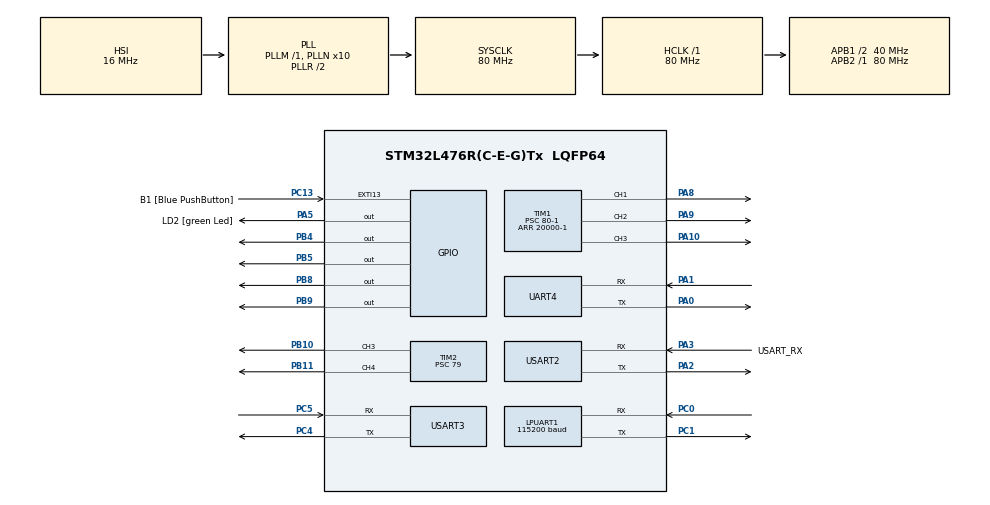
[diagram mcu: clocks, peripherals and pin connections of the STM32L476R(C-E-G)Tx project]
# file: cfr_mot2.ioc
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LPUART1.BaudRate=115200
LPUART1.WordLength=UART_WORDLENGTH_8B
Mcu.Family=STM32L4
Mcu.Name=STM32L476R(C-E-G)Tx
Mcu.Package=LQFP64
NVIC.LPUART1_IRQn=true\:0\:0\:false\:false\:true\:true\:true\:true
NVIC.PriorityGroup=NVIC_PRIORITYGROUP_4
NVIC.UART4_IRQn=true\:0\:0\:false\:false\:true\:true\:true\:true
PA0.Mode=Asynchronous
PA0.Signal=UART4_TX
PA1.Mode=Asynchronous
PA1.Signal=UART4_RX
PA10.Signal=S_TIM1_CH3
PA13\ (JTMS-SWDIO).GPIO_Label=TMS
PA13\ (JTMS-SWDIO).Mode=Serial_Wire
PA13\ (JTMS-SWDIO).Signal=SYS_JTMS-SWDIO
PA14\ (JTCK-SWCLK).GPIO_Label=TCK
PA14\ (JTCK-SWCLK).Mode=Serial_Wire
PA14\ (JTCK-SWCLK).Signal=SYS_JTCK-SWCLK
PA2.Mode=Asynchronous
PA2.Signal=USART2_TX
PA3.GPIO_Label=USART_RX
PA3.GPIO_Mode=GPIO_MODE_AF_PP
PA3.GPIO_PuPd=GPIO_NOPULL
PA3.GPIO_Speed=GPIO_SPEED_FREQ_VERY_HIGH
PA3.Mode=Asynchronous
PA3.Signal=USART2_RX
PA5.GPIO_Label=LD2 [green Led]
PA5.GPIO_ModeDefaultOutputPP=GPIO_MODE_OUTPUT_PP
PA5.GPIO_PuPd=GPIO_NOPULL
PA5.GPIO_Speed=GPIO_SPEED_FREQ_LOW
PA5.Signal=GPIO_Output
PA8.Signal=S_TIM1_CH1
PA9.Signal=S_TIM1_CH2
PB10.Signal=S_TIM2_CH3
PB11.Signal=S_TIM2_CH4
PB4\ (NJTRST).Signal=GPIO_Output
PB5.Signal=GPIO_Output
PB8.Signal=GPIO_Output
PB9.Signal=GPIO_Output
PC0.Mode=Asynchronous
PC0.Signal=LPUART1_RX
PC1.Mode=Asynchronous
PC1.Signal=LPUART1_TX
PC13.GPIO_Label=B1 [Blue PushButton]
PC13.GPIO_ModeDefaultEXTI=GPIO_MODE_IT_FALLING
PC13.GPIO_PuPd=GPIO_NOPULL
PC13.Signal=GPXTI13
PC14-OSC32_IN\ (PC14).Mode=LSE-External-Oscillator
PC14-OSC32_IN\ (PC14).Signal=RCC_OSC32_IN
PC15-OSC32_OUT\ (PC15).Mode=LSE-External-Oscillator
PC15-OSC32_OUT\ (PC15).Signal=RCC_OSC32_OUT
PC4.Mode=Asynchronous
PC4.Signal=USART3_TX
PC5.Mode=Asynchronous
PC5.Signal=USART3_RX
PH0-OSC_IN\ (PH0).Mode=HSE-External-Oscillator
PH0-OSC_IN\ (PH0).Signal=RCC_OSC_IN
PH1-OSC_OUT\ (PH1).Mode=HSE-External-Oscillator
PH1-OSC_OUT\ (PH1).Signal=RCC_OSC_OUT
ProjectManager.HeapSize=0x200
ProjectManager.StackSize=0x400
ProjectManager.TargetToolchain=STM32CubeIDE
RCC.ADCFreq_Value=64000000
RCC.AHBFreq_Value=80000000
RCC.APB1CLKDivider=RCC_HCLK_DIV2
RCC.APB1Freq_Value=40000000
RCC.APB1TimFreq_Value=80000000
RCC.APB2Freq_Value=80000000
RCC.APB2TimFreq_Value=80000000
RCC.CortexFreq_Value=80000000
RCC.HCLKFreq_Value=80000000
RCC.HSE_VALUE=8000000
RCC.HSI_VALUE=16000000
RCC.MSI_VALUE=4000000
RCC.PLLN=10
RCC.PLLSourceVirtual=RCC_PLLSOURCE_HSI
RCC.PREFETCH_ENABLE=1
RCC.SYSCLKFreq_VALUE=80000000
RCC.SYSCLKSource=RCC_SYSCLKSOURCE_PLLCLK
RCC.USBFreq_Value=64000000
RCC.VCOOutputFreq_Value=160000000
SH.S_TIM1_CH1.0=TIM1_CH1,PWM Generation1 CH1
SH.S_TIM1_CH2.0=TIM1_CH2,PWM Generation2 CH2
SH.S_TIM1_CH3.0=TIM1_CH3,PWM Generation3 CH3
SH.S_TIM2_CH3.0=TIM2_CH3,PWM Generation3 CH3
SH.S_TIM2_CH4.0=TIM2_CH4,PWM Generation4 CH4
TIM1.Channel-PWM\ Generation1\ CH1=TIM_CHANNEL_1
TIM1.Channel-PWM\ Generation2\ CH2=TIM_CHANNEL_2
TIM1.Channel-PWM\ Generation3\ CH3=TIM_CHANNEL_3
TIM1.Period=20000-1
TIM1.Prescaler=80-1
TIM2.Channel-PWM\ Generation3\ CH3=TIM_CHANNEL_3
TIM2.Channel-PWM\ Generation4\ CH4=TIM_CHANNEL_4
TIM2.Period=1999
TIM2.Prescaler=79
USART2.VirtualMode-Asynchronous=VM_ASYNC
USART3.VirtualMode-Asynchronous=VM_ASYNC
VP_TIM1_VS_ClockSourceINT.Mode=Internal
VP_TIM2_VS_ClockSourceINT.Mode=Internal
board=NUCLEO-L476RG

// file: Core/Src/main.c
/* USER CODE BEGIN Header */
/**
  ******************************************************************************
  * @file           : main.c
  * @brief          : Main program body
  ******************************************************************************
  * @attention
  *
  * Copyright (c) 2024 STMicroelectronics.
  * All rights reserved.
  *
  * This software is licensed under terms that can be found in the LICENSE file
  * in the root directory of this software component.
  * If no LICENSE file comes with this software, it is provided AS-IS.
  *
  ******************************************************************************
  */
/* USER CODE END Header */
#include "main.h"

/* USER CODE BEGIN Includes */
#include <string.h>
#include <stdio.h>
#include "servo.h"
#include "maxon.h"
/* USER CODE END Includes */

UART_HandleTypeDef hlpuart1;
UART_HandleTypeDef huart4;
UART_HandleTypeDef huart2;
UART_HandleTypeDef huart3;

TIM_HandleTypeDef htim1;
TIM_HandleTypeDef htim2;

/* USER CODE BEGIN PV */
char rx_data[26];//13 de base
char newline[] = "\r\n";
int i = 0;

/* USER CODE END PV */

void SystemClock_Config(void);
static void MX_GPIO_Init(void);
static void MX_TIM2_Init(void);
static void MX_LPUART1_UART_Init(void);
static void MX_TIM1_Init(void);
static void MX_USART2_UART_Init(void);
static void MX_USART3_UART_Init(void);
static void MX_UART4_Init(void);

int main(void)
{

  /* MCU Configuration--------------------------------------------------------*/

  /* Reset of all peripherals, Initializes the Flash interface and the Systick. */
  HAL_Init();

  /* Configure the system clock */
  SystemClock_Config();

  /* Initialize all configured peripherals */
  MX_GPIO_Init();
  MX_TIM2_Init();
  MX_LPUART1_UART_Init();
  MX_TIM1_Init();
  MX_USART2_UART_Init();
  MX_USART3_UART_Init();
  MX_UART4_Init();
  /* USER CODE BEGIN 2 */
  HAL_TIM_PWM_Start(&htim2, TIM_CHANNEL_3); //PB10 TIM2 CH3
  HAL_TIM_PWM_Start(&htim2, TIM_CHANNEL_4); //PB11 TIM2 CH4
  HAL_TIM_PWM_Start(&htim1, TIM_CHANNEL_1); //PA8
  HAL_TIM_PWM_Start(&htim1, TIM_CHANNEL_2); //PA9
  HAL_TIM_PWM_Start(&htim1, TIM_CHANNEL_3); //PA10
  HAL_UART_Receive_IT(&hlpuart1, (uint8_t *)rx_data, sizeof(rx_data));
  /* USER CODE END 2 */

  /* Infinite loop */
  /* USER CODE BEGIN WHILE */
  while (1)
  {

	  // Pour le moteur Maxon droit
	  //char direction_d = rx_data[0]; // Premier caractère pour la direction
	  char mot_maxon_dataD[5];      // 4 caractères + '\0' pour la vitesse
	  strncpy(mot_maxon_dataD, (char *)&rx_data[1], 4);
	  mot_maxon_dataD[4] = '\0';    // Null terminate
	  int mot_maxon_valueD = atoi(mot_maxon_dataD);
	  int inv_d = rx_data[0] - '0';
	  mot_maxonD(mot_maxon_valueD, inv_d);//

	  // Pour le moteur Maxon gauche
	  //char direction_g = rx_data[5]; // Premier caractère pour la direction
	  char mot_maxon_dataG[5];      // 4 caractères + '\0' pour la vitesse
	  strncpy(mot_maxon_dataG, (char *)&rx_data[6], 4);
	  mot_maxon_dataG[4] = '\0';    // Null terminate
	  int mot_maxon_valueG = atoi(mot_maxon_dataG);
	  int inv_g = rx_data[5] - '0';
	  mot_maxonG(mot_maxon_valueG, inv_g);

	  // Pour les servos (12 octets : rx_data[10] à rx_data[21])
	  char servo_goal_data[14];
	  memcpy(servo_goal_data, (char *)&rx_data[10], 12);
	  //servo_goal_data[12] = '\0'; // Optionnel si les données ne sont pas une chaîne
	  servo_goal_data[12] = '\r'; // Ajouter retour chariot
	  servo_goal_data[13] = '\n'; // Ajouter nouvelle ligne
	  HAL_UART_Transmit(&huart4, (uint8_t *)servo_goal_data, strlen(servo_goal_data), HAL_MAX_DELAY);

	  // Steppers (rx_data[22] à rx_data[25]) - Scindé en deux UARTs
	  // Première partie (PCB 1) via huart3 : rx_data[22] et rx_data[23]
	  char stepper_data1[2];
	  memcpy(stepper_data1, (char *)&rx_data[22], 2);
	  HAL_UART_Transmit(&huart3, (uint8_t *)stepper_data1, 2, HAL_MAX_DELAY);

//	  // Deuxième partie (PCB 2) via huart2 : rx_data[24] et rx_data[25], attendre PCB
//	  char stepper_data2[2];
//	  memcpy(stepper_data2, (char *)&rx_data[24], 2);
//	  HAL_UART_Transmit(&huart2, (uint8_t *)stepper_data2, 2, HAL_MAX_DELAY);

	  //servo_goal_data[4] = '\r'; // Ajouter retour chariot
	  //servo_goal_data[5] = '\n';
	  //HAL_UART_Transmit(&huart3, (uint8_t *)servo_goal_data, 5, HAL_MAX_DELAY);

//	  // Transmission pour debug
//	  char message[28]; // 26 caractères de rx_data + 2 pour "\r\n"
//	  memcpy(message, rx_data, 26); // Copier rx_data dans message
//	  message[26] = '\r'; // Ajouter retour chariot
//	  message[27] = '\n'; // Ajouter nouvelle ligne
//	  HAL_UART_Transmit(&huart2, (uint8_t *)message, sizeof(message), HAL_MAX_DELAY);

    /* USER CODE END WHILE */

  }
}

void SystemClock_Config(void)
{
  RCC_OscInitTypeDef RCC_OscInitStruct = {0};
  RCC_ClkInitTypeDef RCC_ClkInitStruct = {0};

  /** Configure the main internal regulator output voltage
  */
  if (HAL_PWREx_ControlVoltageScaling(PWR_REGULATOR_VOLTAGE_SCALE1) != HAL_OK)
  {
    Error_Handler();
  }

  /** Initializes the RCC Oscillators according to the specified parameters
  * in the RCC_OscInitTypeDef structure.
  */
  RCC_OscInitStruct.OscillatorType = RCC_OSCILLATORTYPE_HSI;
  RCC_OscInitStruct.HSIState = RCC_HSI_ON;
  RCC_OscInitStruct.HSICalibrationValue = RCC_HSICALIBRATION_DEFAULT;
  RCC_OscInitStruct.PLL.PLLState = RCC_PLL_ON;
  RCC_OscInitStruct.PLL.PLLSource = RCC_PLLSOURCE_HSI;
  RCC_OscInitStruct.PLL.PLLM = 1;
  RCC_OscInitStruct.PLL.PLLN = 10;
  RCC_OscInitStruct.PLL.PLLP = RCC_PLLP_DIV7;
  RCC_OscInitStruct.PLL.PLLQ = RCC_PLLQ_DIV2;
  RCC_OscInitStruct.PLL.PLLR = RCC_PLLR_DIV2;
  if (HAL_RCC_OscConfig(&RCC_OscInitStruct) != HAL_OK)
  {
    Error_Handler();
  }

  /** Initializes the CPU, AHB and APB buses clocks
  */
  RCC_ClkInitStruct.ClockType = RCC_CLOCKTYPE_HCLK|RCC_CLOCKTYPE_SYSCLK
                              |RCC_CLOCKTYPE_PCLK1|RCC_CLOCKTYPE_PCLK2;
  RCC_ClkInitStruct.SYSCLKSource = RCC_SYSCLKSOURCE_PLLCLK;
  RCC_ClkInitStruct.AHBCLKDivider = RCC_SYSCLK_DIV1;
  RCC_ClkInitStruct.APB1CLKDivider = RCC_HCLK_DIV2;
  RCC_ClkInitStruct.APB2CLKDivider = RCC_HCLK_DIV1;

  if (HAL_RCC_ClockConfig(&RCC_ClkInitStruct, FLASH_LATENCY_4) != HAL_OK)
  {
    Error_Handler();
  }
}

static void MX_LPUART1_UART_Init(void)
{

  hlpuart1.Instance = LPUART1;
  hlpuart1.Init.BaudRate = 115200;
  hlpuart1.Init.WordLength = UART_WORDLENGTH_8B;
  hlpuart1.Init.StopBits = UART_STOPBITS_1;
  hlpuart1.Init.Parity = UART_PARITY_NONE;
  hlpuart1.Init.Mode = UART_MODE_TX_RX;
  hlpuart1.Init.HwFlowCtl = UART_HWCONTROL_NONE;
  hlpuart1.Init.OneBitSampling = UART_ONE_BIT_SAMPLE_DISABLE;
  hlpuart1.AdvancedInit.AdvFeatureInit = UART_ADVFEATURE_NO_INIT;
  if (HAL_UART_Init(&hlpuart1) != HAL_OK)
  {
    Error_Handler();
  }

}

static void MX_UART4_Init(void)
{

  huart4.Instance = UART4;
  huart4.Init.BaudRate = 115200;
  huart4.Init.WordLength = UART_WORDLENGTH_8B;
  huart4.Init.StopBits = UART_STOPBITS_1;
  huart4.Init.Parity = UART_PARITY_NONE;
  huart4.Init.Mode = UART_MODE_TX_RX;
  huart4.Init.HwFlowCtl = UART_HWCONTROL_NONE;
  huart4.Init.OverSampling = UART_OVERSAMPLING_16;
  huart4.Init.OneBitSampling = UART_ONE_BIT_SAMPLE_DISABLE;
  huart4.AdvancedInit.AdvFeatureInit = UART_ADVFEATURE_NO_INIT;
  if (HAL_UART_Init(&huart4) != HAL_OK)
  {
    Error_Handler();
  }

}

static void MX_USART2_UART_Init(void)
{

  huart2.Instance = USART2;
  huart2.Init.BaudRate = 115200;
  huart2.Init.WordLength = UART_WORDLENGTH_8B;
  huart2.Init.StopBits = UART_STOPBITS_1;
  huart2.Init.Parity = UART_PARITY_NONE;
  huart2.Init.Mode = UART_MODE_TX_RX;
  huart2.Init.HwFlowCtl = UART_HWCONTROL_NONE;
  huart2.Init.OverSampling = UART_OVERSAMPLING_16;
  huart2.Init.OneBitSampling = UART_ONE_BIT_SAMPLE_DISABLE;
  huart2.AdvancedInit.AdvFeatureInit = UART_ADVFEATURE_NO_INIT;
  if (HAL_UART_Init(&huart2) != HAL_OK)
  {
    Error_Handler();
  }

}

static void MX_USART3_UART_Init(void)
{

  huart3.Instance = USART3;
  huart3.Init.BaudRate = 115200;
  huart3.Init.WordLength = UART_WORDLENGTH_8B;
  huart3.Init.StopBits = UART_STOPBITS_1;
  huart3.Init.Parity = UART_PARITY_NONE;
  huart3.Init.Mode = UART_MODE_TX_RX;
  huart3.Init.HwFlowCtl = UART_HWCONTROL_NONE;
  huart3.Init.OverSampling = UART_OVERSAMPLING_16;
  huart3.Init.OneBitSampling = UART_ONE_BIT_SAMPLE_DISABLE;
  huart3.AdvancedInit.AdvFeatureInit = UART_ADVFEATURE_NO_INIT;
  if (HAL_UART_Init(&huart3) != HAL_OK)
  {
    Error_Handler();
  }

}

static void MX_TIM1_Init(void)
{

  TIM_ClockConfigTypeDef sClockSourceConfig = {0};
  TIM_MasterConfigTypeDef sMasterConfig = {0};
  TIM_OC_InitTypeDef sConfigOC = {0};
  TIM_BreakDeadTimeConfigTypeDef sBreakDeadTimeConfig = {0};

  htim1.Instance = TIM1;
  htim1.Init.Prescaler = 80-1;
  htim1.Init.CounterMode = TIM_COUNTERMODE_UP;
  htim1.Init.Period = 20000-1;
  htim1.Init.ClockDivision = TIM_CLOCKDIVISION_DIV1;
  htim1.Init.RepetitionCounter = 0;
  htim1.Init.AutoReloadPreload = TIM_AUTORELOAD_PRELOAD_DISABLE;
  if (HAL_TIM_Base_Init(&htim1) != HAL_OK)
  {
    Error_Handler();
  }
  sClockSourceConfig.ClockSource = TIM_CLOCKSOURCE_INTERNAL;
  if (HAL_TIM_ConfigClockSource(&htim1, &sClockSourceConfig) != HAL_OK)
  {
    Error_Handler();
  }
  if (HAL_TIM_PWM_Init(&htim1) != HAL_OK)
  {
    Error_Handler();
  }
  sMasterConfig.MasterOutputTrigger = TIM_TRGO_RESET;
  sMasterConfig.MasterOutputTrigger2 = TIM_TRGO2_RESET;
  sMasterConfig.MasterSlaveMode = TIM_MASTERSLAVEMODE_DISABLE;
  if (HAL_TIMEx_MasterConfigSynchronization(&htim1, &sMasterConfig) != HAL_OK)
  {
    Error_Handler();
  }
  sConfigOC.OCMode = TIM_OCMODE_PWM1;
  sConfigOC.Pulse = 0;
  sConfigOC.OCPolarity = TIM_OCPOLARITY_HIGH;
  sConfigOC.OCNPolarity = TIM_OCNPOLARITY_HIGH;
  sConfigOC.OCFastMode = TIM_OCFAST_DISABLE;
  sConfigOC.OCIdleState = TIM_OCIDLESTATE_RESET;
  sConfigOC.OCNIdleState = TIM_OCNIDLESTATE_RESET;
  if (HAL_TIM_PWM_ConfigChannel(&htim1, &sConfigOC, TIM_CHANNEL_1) != HAL_OK)
  {
    Error_Handler();
  }
  if (HAL_TIM_PWM_ConfigChannel(&htim1, &sConfigOC, TIM_CHANNEL_2) != HAL_OK)
  {
    Error_Handler();
  }
  if (HAL_TIM_PWM_ConfigChannel(&htim1, &sConfigOC, TIM_CHANNEL_3) != HAL_OK)
  {
    Error_Handler();
  }
  sBreakDeadTimeConfig.OffStateRunMode = TIM_OSSR_DISABLE;
  sBreakDeadTimeConfig.OffStateIDLEMode = TIM_OSSI_DISABLE;
  sBreakDeadTimeConfig.LockLevel = TIM_LOCKLEVEL_OFF;
  sBreakDeadTimeConfig.DeadTime = 0;
  sBreakDeadTimeConfig.BreakState = TIM_BREAK_DISABLE;
  sBreakDeadTimeConfig.BreakPolarity = TIM_BREAKPOLARITY_HIGH;
  sBreakDeadTimeConfig.BreakFilter = 0;
  sBreakDeadTimeConfig.Break2State = TIM_BREAK2_DISABLE;
  sBreakDeadTimeConfig.Break2Polarity = TIM_BREAK2POLARITY_HIGH;
  sBreakDeadTimeConfig.Break2Filter = 0;
  sBreakDeadTimeConfig.AutomaticOutput = TIM_AUTOMATICOUTPUT_DISABLE;
  if (HAL_TIMEx_ConfigBreakDeadTime(&htim1, &sBreakDeadTimeConfig) != HAL_OK)
  {
    Error_Handler();
  }
  HAL_TIM_MspPostInit(&htim1);

}

static void MX_TIM2_Init(void)
{

  TIM_ClockConfigTypeDef sClockSourceConfig = {0};
  TIM_MasterConfigTypeDef sMasterConfig = {0};
  TIM_OC_InitTypeDef sConfigOC = {0};

  htim2.Instance = TIM2;
  htim2.Init.Prescaler = 79;
  htim2.Init.CounterMode = TIM_COUNTERMODE_UP;
  htim2.Init.Period = 1999;
  htim2.Init.ClockDivision = TIM_CLOCKDIVISION_DIV1;
  htim2.Init.AutoReloadPreload = TIM_AUTORELOAD_PRELOAD_DISABLE;
  if (HAL_TIM_Base_Init(&htim2) != HAL_OK)
  {
    Error_Handler();
  }
  sClockSourceConfig.ClockSource = TIM_CLOCKSOURCE_INTERNAL;
  if (HAL_TIM_ConfigClockSource(&htim2, &sClockSourceConfig) != HAL_OK)
  {
    Error_Handler();
  }
  if (HAL_TIM_PWM_Init(&htim2) != HAL_OK)
  {
    Error_Handler();
  }
  sMasterConfig.MasterOutputTrigger = TIM_TRGO_RESET;
  sMasterConfig.MasterSlaveMode = TIM_MASTERSLAVEMODE_DISABLE;
  if (HAL_TIMEx_MasterConfigSynchronization(&htim2, &sMasterConfig) != HAL_OK)
  {
    Error_Handler();
  }
  sConfigOC.OCMode = TIM_OCMODE_PWM1;
  sConfigOC.Pulse = 0;
  sConfigOC.OCPolarity = TIM_OCPOLARITY_HIGH;
  sConfigOC.OCFastMode = TIM_OCFAST_DISABLE;
  if (HAL_TIM_PWM_ConfigChannel(&htim2, &sConfigOC, TIM_CHANNEL_3) != HAL_OK)
  {
    Error_Handler();
  }
  if (HAL_TIM_PWM_ConfigChannel(&htim2, &sConfigOC, TIM_CHANNEL_4) != HAL_OK)
  {
    Error_Handler();
  }
  HAL_TIM_MspPostInit(&htim2);

}

static void MX_GPIO_Init(void)
{
  GPIO_InitTypeDef GPIO_InitStruct = {0};

  /* GPIO Ports Clock Enable */
  __HAL_RCC_GPIOC_CLK_ENABLE();
  __HAL_RCC_GPIOH_CLK_ENABLE();
  __HAL_RCC_GPIOA_CLK_ENABLE();
  __HAL_RCC_GPIOB_CLK_ENABLE();

  /*Configure GPIO pin Output Level */
  HAL_GPIO_WritePin(LD2_GPIO_Port, LD2_Pin, GPIO_PIN_RESET);

  /*Configure GPIO pin Output Level */
  HAL_GPIO_WritePin(GPIOB, GPIO_PIN_4|GPIO_PIN_5|GPIO_PIN_8|GPIO_PIN_9, GPIO_PIN_RESET);

  /*Configure GPIO pin : B1_Pin */
  GPIO_InitStruct.Pin = B1_Pin;
  GPIO_InitStruct.Mode = GPIO_MODE_IT_FALLING;
  GPIO_InitStruct.Pull = GPIO_NOPULL;
  HAL_GPIO_Init(B1_GPIO_Port, &GPIO_InitStruct);

  /*Configure GPIO pin : LD2_Pin */
  GPIO_InitStruct.Pin = LD2_Pin;
  GPIO_InitStruct.Mode = GPIO_MODE_OUTPUT_PP;
  GPIO_InitStruct.Pull = GPIO_NOPULL;
  GPIO_InitStruct.Speed = GPIO_SPEED_FREQ_LOW;
  HAL_GPIO_Init(LD2_GPIO_Port, &GPIO_InitStruct);

  /*Configure GPIO pins : PB4 PB5 PB8 PB9 */
  GPIO_InitStruct.Pin = GPIO_PIN_4|GPIO_PIN_5|GPIO_PIN_8|GPIO_PIN_9;
  GPIO_InitStruct.Mode = GPIO_MODE_OUTPUT_PP;
  GPIO_InitStruct.Pull = GPIO_NOPULL;
  GPIO_InitStruct.Speed = GPIO_SPEED_FREQ_LOW;
  HAL_GPIO_Init(GPIOB, &GPIO_InitStruct);

}

/* USER CODE BEGIN 4 */
void HAL_UART_RxCpltCallback(UART_HandleTypeDef *huart)
{
	if (huart == &hlpuart1) {
		// Réactiver la réception immédiatement
		HAL_UART_Receive_IT(&hlpuart1, (uint8_t *)rx_data, sizeof(rx_data));
	}
}
/* USER CODE END 4 */

void Error_Handler(void)
{
  __disable_irq();
  while (1)
  {
  }
}
